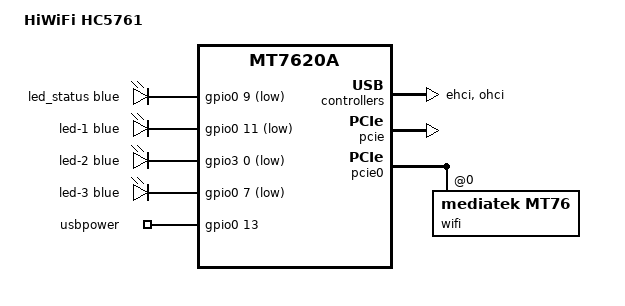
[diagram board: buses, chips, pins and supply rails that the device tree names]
#include "mt7620a_hiwifi_hc5x61.dtsi"

/ {
	compatible = "hiwifi,hc5761", "ralink,mt7620a-soc";
	model = "HiWiFi HC5761";

	aliases {
		label-mac-device = &ethernet;
		led-boot = &led_status;
		led-failsafe = &led_status;
		led-running = &led_status;
		led-upgrade = &led_status;
	};

	leds {
		compatible = "gpio-leds";

		led_status: led-0 {
			color = <LED_COLOR_ID_BLUE>;
			function = LED_FUNCTION_STATUS;
			gpios = <&gpio0 9 GPIO_ACTIVE_LOW>;
		};

		led-1 {
			color = <LED_COLOR_ID_BLUE>;
			function = LED_FUNCTION_WAN;
			gpios = <&gpio0 11 GPIO_ACTIVE_LOW>;
		};

		led-2 {
			color = <LED_COLOR_ID_BLUE>;
			function = LED_FUNCTION_WLAN_2GHZ;
			gpios = <&gpio3 0 GPIO_ACTIVE_LOW>;
			linux,default-trigger = "phy1tpt";
		};

		led-3 {
			color = <LED_COLOR_ID_BLUE>;
			function = LED_FUNCTION_WLAN_5GHZ;
			gpios = <&gpio0 7 GPIO_ACTIVE_LOW>;
			linux,default-trigger = "phy0tpt";
		};
	};

	gpio_export {
		compatible = "gpio-export";

		usbpower {
			gpio-export,name = "usbpower";
			gpio-export,output = <1>;
			gpios = <&gpio0 13 GPIO_ACTIVE_HIGH>;
		};
	};
};

&ehci {
	status = "okay";
};

&ohci {
	status = "okay";
};

&pcie {
	status = "okay";
};

&pcie0 {
	wifi@0,0 {
		compatible = "mediatek,mt76";
		reg = <0x0000 0 0 0 0>;
		nvmem-cells = <&eeprom_factory_8000>, <&macaddr_bdinfo_18a 0>;
		nvmem-cell-names = "eeprom", "mac-address";
		ieee80211-freq-limit = <5000000 6000000>;
	};
};
